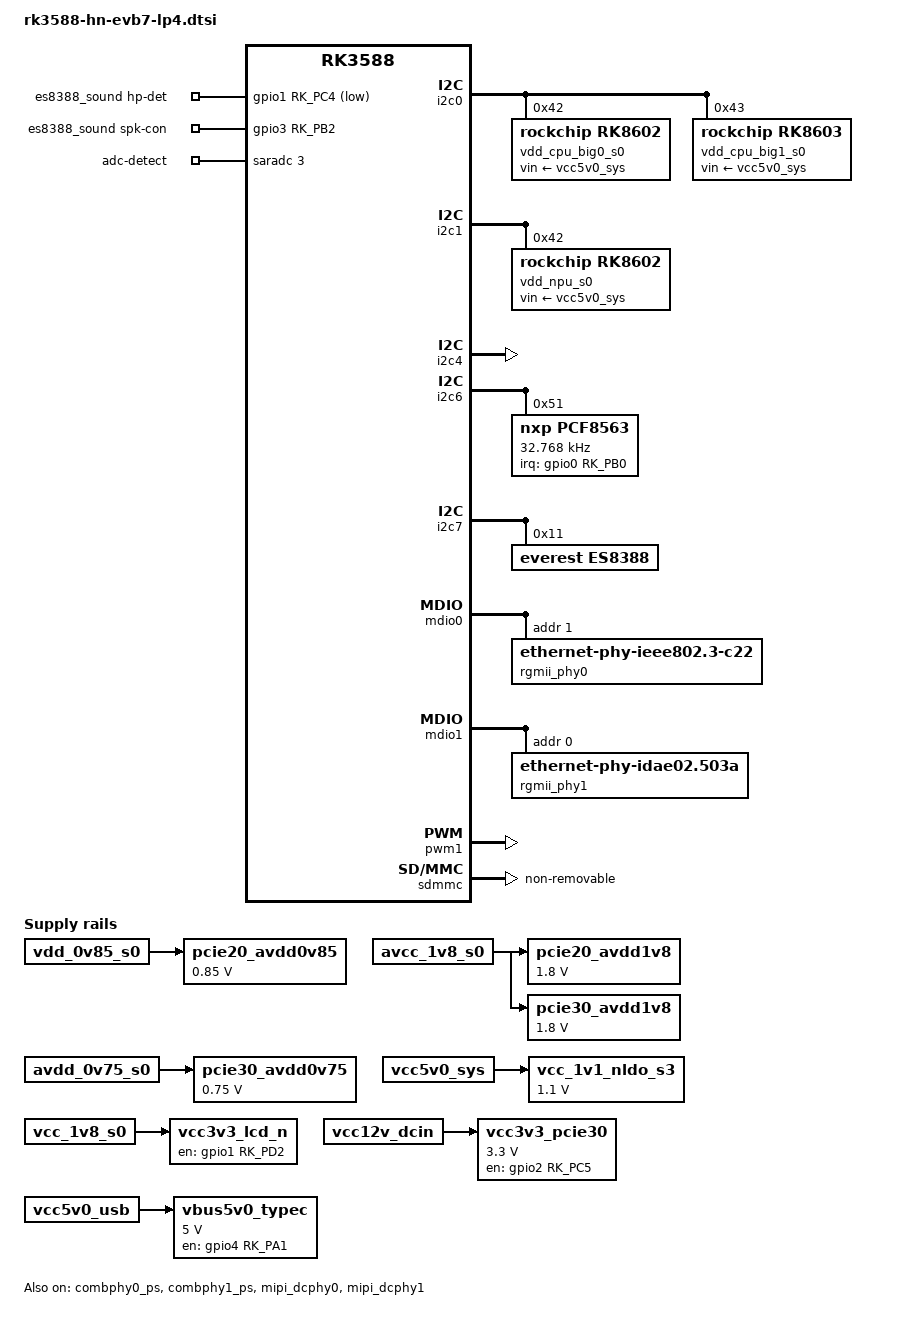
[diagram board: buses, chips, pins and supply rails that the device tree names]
// SPDX-License-Identifier: (GPL-2.0+ OR MIT)
/*
 * Copyright (c) 2021 Rockchip Electronics Co., Ltd.
 *
 */

#include "dt-bindings/usb/pd.h"
#include "rk3588.dtsi"
#include "rk3588-evb.dtsi"
#include "rk3588-rk806-single.dtsi"

#include "topeet_screen_lcds.dts"  //失能lcd显示
//#include "topeet_camera_config.dtsi"

/ {
	/* If hdmirx node is disabled, delete the reserved-memory node here. */
	reserved-memory {
		#address-cells = <2>;
		#size-cells = <2>;
		ranges;

		/* Reserve 128MB memory for hdmirx-controller@fdee0000 */
		cma {
			compatible = "shared-dma-pool";
			reusable;
			reg = <0x0 (256 * 0x100000) 0x0 (128 * 0x100000)>;
			linux,cma-default;
		};
	};

	es8388_sound: es8388-sound {
		status = "okay";
		compatible = "rockchip,multicodecs-card";
		rockchip,card-name = "rockchip-es8388";
		hp-det-gpio = <&gpio1 RK_PC4 GPIO_ACTIVE_LOW>;
		io-channels = <&saradc 3>;
		io-channel-names = "adc-detect";
		keyup-threshold-microvolt = <1800000>;
		poll-interval = <100>;
		spk-con-gpio = <&gpio3 RK_PB2 GPIO_ACTIVE_HIGH>;
		//hp-con-gpio = <&gpio3 RK_PB2 GPIO_ACTIVE_HIGH>;
		rockchip,format = "i2s";
		rockchip,mclk-fs = <512>;
		rockchip,cpu = <&i2s0_8ch>;
		rockchip,codec = <&es8388>;
		rockchip,audio-routing =
			"Headphone", "LOUT1",
			"Headphone", "ROUT1",
			"Speaker", "LOUT2",
			"Speaker", "ROUT2",
			"Headphone", "Headphone Power",
			"Headphone", "Headphone Power",
			"Speaker", "Speaker Power",
			"Speaker", "Speaker Power",
			"LINPUT1", "Main Mic",
			"LINPUT2", "Main Mic",
			"RINPUT1", "Headset Mic",
			"RINPUT2", "Headset Mic";
		pinctrl-names = "default";
		pinctrl-0 = <&hp_det>;
		play-pause-key {
			label = "playpause";
			linux,code = <KEY_PLAYPAUSE>;
			press-threshold-microvolt = <2000>;
		};
	};

#if 0
	fan: pwm-fan {
		compatible = "pwm-fan";
		#cooling-cells = <2>;
		pwms = <&pwm3 0 50000 0>;
	};


	hdmiin_dc: hdmiin-dc {
		compatible = "rockchip,dummy-codec";
		#sound-dai-cells = <0>;
	};

	hdmiin-sound {
		compatible = "simple-audio-card";
		simple-audio-card,format = "i2s";
		simple-audio-card,name = "rockchip,hdmiin";
		simple-audio-card,bitclock-master = <&dailink0_master>;
		simple-audio-card,frame-master = <&dailink0_master>;
		status = "disabled";
		simple-audio-card,cpu {
			sound-dai = <&i2s7_8ch>;
		};
		dailink0_master: simple-audio-card,codec {
			sound-dai = <&hdmiin_dc>;
		};
	};
#endif
	pcie20_avdd0v85: pcie20-avdd0v85 {
		compatible = "regulator-fixed";
		regulator-name = "pcie20_avdd0v85";
		regulator-boot-on;
		regulator-always-on;
		regulator-min-microvolt = <850000>;
		regulator-max-microvolt = <850000>;
		vin-supply = <&vdd_0v85_s0>;
	};

	pcie20_avdd1v8: pcie20-avdd1v8 {
		compatible = "regulator-fixed";
		regulator-name = "pcie20_avdd1v8";
		regulator-boot-on;
		regulator-always-on;
		regulator-min-microvolt = <1800000>;
		regulator-max-microvolt = <1800000>;
		vin-supply = <&avcc_1v8_s0>;
	};

	pcie30_avdd0v75: pcie30-avdd0v75 {
		compatible = "regulator-fixed";
		regulator-name = "pcie30_avdd0v75";
		regulator-boot-on;
		regulator-always-on;
		regulator-min-microvolt = <750000>;
		regulator-max-microvolt = <750000>;
		vin-supply = <&avdd_0v75_s0>;
	};

	pcie30_avdd1v8: pcie30-avdd1v8 {
		compatible = "regulator-fixed";
		regulator-name = "pcie30_avdd1v8";
		regulator-boot-on;
		regulator-always-on;
		regulator-min-microvolt = <1800000>;
		regulator-max-microvolt = <1800000>;
		vin-supply = <&avcc_1v8_s0>;
	};

	rk_headset: rk-headset {
		status = "disabled";
		compatible = "rockchip_headset";
		headset_gpio = <&gpio1 RK_PD5 GPIO_ACTIVE_LOW>;
		pinctrl-names = "default";
		pinctrl-0 = <&hp_det>;
		io-channels = <&saradc 3>;
	};


	vcc_1v1_nldo_s3: vcc-1v1-nldo-s3 {
		compatible = "regulator-fixed";
		regulator-name = "vcc_1v1_nldo_s3";
		regulator-always-on;
		regulator-boot-on;
		regulator-min-microvolt = <1100000>;
		regulator-max-microvolt = <1100000>;
		vin-supply = <&vcc5v0_sys>;
	};

	vcc3v3_lcd_n: vcc3v3-lcd0-n {
		compatible = "regulator-fixed";
		regulator-name = "vcc3v3_lcd0_n";
		regulator-always-on;
		regulator-boot-on;
		enable-active-high;
		gpio = <&gpio1 RK_PD2 GPIO_ACTIVE_HIGH>;
		vin-supply = <&vcc_1v8_s0>;
	};

	vcc3v3_pcie30: vcc3v3-pcie30 {
		compatible = "regulator-fixed";
		regulator-name = "vcc3v3_pcie30";
		regulator-min-microvolt = <3300000>;
		regulator-max-microvolt = <3300000>;
		enable-active-high;
		gpios = <&gpio2 RK_PC5 GPIO_ACTIVE_HIGH>;
		startup-delay-us = <5000>;
		vin-supply = <&vcc12v_dcin>;
	};

#if 0
	vcc5v0_host: vcc5v0-host {
		compatible = "regulator-fixed";
		regulator-name = "vcc5v0_host";
		regulator-boot-on;
		regulator-always-on;
		regulator-min-microvolt = <5000000>;
		regulator-max-microvolt = <5000000>;
		enable-active-high;
		gpio = <&gpio4 RK_PB0 GPIO_ACTIVE_HIGH>;
		vin-supply = <&vcc5v0_usb>;
		pinctrl-names = "default";
		pinctrl-0 = <&vcc5v0_host_en>;
	};
#endif

/*
	vcc_mipicsi0: vcc-mipicsi0-regulator {
		compatible = "regulator-fixed";
		gpio = <&gpio1 RK_PD2 GPIO_ACTIVE_HIGH>;
		pinctrl-names = "default";
		pinctrl-0 = <&mipicsi0_pwr>;
		regulator-name = "vcc_mipicsi0";
		enable-active-high;
	};

	vcc_mipicsi1: vcc-mipicsi1-regulator {
		compatible = "regulator-fixed";
		gpio = <&gpio1 RK_PD3 GPIO_ACTIVE_HIGH>;
		pinctrl-names = "default";
		pinctrl-0 = <&mipicsi1_pwr>;
		regulator-name = "vcc_mipicsi1";
		enable-active-high;
	};

	vcc_mipidcphy0: vcc-mipidcphy0-regulator {
		compatible = "regulator-fixed";
		gpio = <&gpio2 RK_PC4 GPIO_ACTIVE_HIGH>;
		pinctrl-names = "default";
		pinctrl-0 = <&mipidcphy0_pwr>;
		regulator-name = "vcc_mipidcphy0";
		enable-active-high;
	};
*/

	vbus5v0_typec: vbus5v0-typec {
                compatible = "regulator-fixed";
                regulator-name = "vbus5v0_typec";
                regulator-min-microvolt = <5000000>;
                regulator-max-microvolt = <5000000>;
                enable-active-high;
                gpio = <&gpio4 RK_PA1 GPIO_ACTIVE_HIGH>;
                vin-supply = <&vcc5v0_usb>;
                pinctrl-names = "default";
                pinctrl-0 = <&typec5v_pwren>;
        };
};

&combphy0_ps {
	status = "okay";
};

&combphy1_ps {
	status = "okay";
};


/* Should work with at least 128MB cma reserved above. */
&hdmirx_ctrler {
	status = "disabled";

	/* Effective level used to trigger HPD: 0-low, 1-high */
	hpd-trigger-level = <1>;
	hdmirx-det-gpios = <&gpio1 RK_PD5 GPIO_ACTIVE_LOW>;
	pinctrl-names = "default";
	pinctrl-0 = <&hdmim1_rx &hdmirx_det>;
};

&hdptxphy_hdmi0 {
	status = "disabled";
};

&hdptxphy_hdmi1 {
	status = "disabled";
};

&i2c0 {
	status = "okay";
	pinctrl-names = "default";
	pinctrl-0 = <&i2c0m2_xfer>;

	vdd_cpu_big0_s0: vdd_cpu_big0_mem_s0: rk8602@42 {
		compatible = "rockchip,rk8602";
		reg = <0x42>;
		vin-supply = <&vcc5v0_sys>;
		regulator-compatible = "rk860x-reg";
		regulator-name = "vdd_cpu_big0_s0";
		regulator-min-microvolt = <550000>;
		regulator-max-microvolt = <1050000>;
		regulator-ramp-delay = <2300>;
		rockchip,suspend-voltage-selector = <1>;
		regulator-boot-on;
		regulator-always-on;
		regulator-state-mem {
			regulator-off-in-suspend;
		};
	};

	vdd_cpu_big1_s0: vdd_cpu_big1_mem_s0: rk8603@43 {
		compatible = "rockchip,rk8603";
		reg = <0x43>;
		vin-supply = <&vcc5v0_sys>;
		regulator-compatible = "rk860x-reg";
		regulator-name = "vdd_cpu_big1_s0";
		regulator-min-microvolt = <550000>;
		regulator-max-microvolt = <1050000>;
		regulator-ramp-delay = <2300>;
		rockchip,suspend-voltage-selector = <1>;
		regulator-boot-on;
		regulator-always-on;
		regulator-state-mem {
			regulator-off-in-suspend;
		};
	};
};

&i2c1 {
	status = "okay";
	pinctrl-names = "default";
	pinctrl-0 = <&i2c1m2_xfer>;

	vdd_npu_s0: vdd_npu_mem_s0: rk8602@42 {
		compatible = "rockchip,rk8602";
		reg = <0x42>;
		vin-supply = <&vcc5v0_sys>;
		regulator-compatible = "rk860x-reg";
		regulator-name = "vdd_npu_s0";
		regulator-min-microvolt = <550000>;
		regulator-max-microvolt = <950000>;
		regulator-ramp-delay = <2300>;
		rockchip,suspend-voltage-selector = <1>;
		regulator-boot-on;
		regulator-always-on;
		regulator-state-mem {
			regulator-off-in-suspend;
		};
	};
};

&i2c4 {
	status = "okay";
	pinctrl-0 = <&i2c4m1_xfer>;

};

&i2c6 {
	status = "okay";
	pinctrl-names = "default";
	pinctrl-0 = <&i2c6m0_xfer>;

	usbc0: fusb302@22 {
                compatible = "fcs,fusb302";
                reg = <0x22>;
                interrupt-parent = <&gpio0>;
                interrupts = <RK_PD3 IRQ_TYPE_LEVEL_LOW>;
                pinctrl-names = "default";
                pinctrl-0 = <&usbc0_int>;
                vbus-supply = <&vbus5v0_typec>;
                status = "disable";

                ports {
                        #address-cells = <1>;
                        #size-cells = <0>;

                        port@0 {
                                reg = <0>;
                                usbc0_role_sw: endpoint@0 {
                                        remote-endpoint = <&dwc3_0_role_switch>;
                                };
                        };
                };

                usb_con: connector {
                        compatible = "usb-c-connector";
                        label = "USB-C";
                        data-role = "dual";
                        power-role = "dual";
                        try-power-role = "sink";
                        op-sink-microwatt = <1000000>;
                        sink-pdos =
                                <PDO_FIXED(5000, 1000, PDO_FIXED_USB_COMM)>;
                        source-pdos =
                                <PDO_FIXED(5000, 3000, PDO_FIXED_USB_COMM)>;

                        altmodes {
                                #address-cells = <1>;
                                #size-cells = <0>;

                                altmode@0 {
                                        reg = <0>;
                                        svid = <0xff01>;
                                        vdo = <0xffffffff>;
                                };
                        };

                        ports {
                                #address-cells = <1>;
                                #size-cells = <0>;

                                port@0 {
                                        reg = <0>;
                                        usbc0_orien_sw: endpoint {
                                                remote-endpoint = <&usbdp_phy0_orientation_switch>;
                                        };
                                };
                                port@1 {
                                        reg = <1>;
                                        dp_altmode_mux: endpoint {
                                                remote-endpoint = <&usbdp_phy0_dp_altmode_mux>;
                                        };
                                };
                        };
                };
        };

	pcf8563: pcf8563@51{
        compatible = "nxp,pcf8563";
        reg = <0x51>;
		#clock-cells = <0>;
		clock-frequency = <32768>;
		pinctrl-names = "default";
		pinctrl-0 = <&pcf8563_int>;
		interrupt-parent = <&gpio0>;
		interrupts = <RK_PB0 IRQ_TYPE_LEVEL_LOW>;
		wakeup-source;
        };       
};

&i2c7 {
	status = "okay";
	pinctrl-0 = <&i2c7m0_xfer>;
	es8388: es8388@11 {
		status = "okay";
		#sound-dai-cells = <0>;
		compatible = "everest,es8388", "everest,es8323";
		reg = <0x11>;
		clocks = <&cru I2S0_8CH_MCLKOUT>;
		clock-names = "mclk";
		assigned-clocks = <&cru I2S0_8CH_MCLKOUT>;
		assigned-clock-rates = <12288000>;
		pinctrl-names = "default";
		pinctrl-0 = <&i2s0_mclk>;
	};
};

&i2s5_8ch {
	status = "disabled";
};

&i2s6_8ch {
	status = "disabled";
};

&i2s7_8ch {
	status = "disabled";
};

&mdio0 {
	rgmii_phy0: phy@1 {
		compatible = "ethernet-phy-ieee802.3-c22";
		reg = <0x1>;
	};
};

&mdio1 {
	rgmii_phy1: phy@0 {
		compatible = "ethernet-phy-idae02.503a", "ethernet-phy-ieee802.3-c45";
		reg = <0x0>;
	};
};

&mipi_dcphy0 {
	status = "okay";
};

&mipi_dcphy1 {
	status = "okay";
};

&pcie2x1l0 {
	reset-gpios = <&gpio1 RK_PB4 GPIO_ACTIVE_HIGH>;
	status = "disabled";
};

&pcie30phy {
	rockchip,pcie30-phymode = <PHY_MODE_PCIE_NANBNB>;
	status = "disabled";
};

&pcie3x4 {
	num-lanes = <2>;
	reset-gpios = <&gpio4 RK_PB6 GPIO_ACTIVE_HIGH>;
	vpcie3v3-supply = <&vcc3v3_pcie30>;
	status = "disabled";
};

&pinctrl {
	cam {
		mipicsi0_pwr: mipicsi0-pwr {
			rockchip,pins =
				/* camera power en */
				<1 RK_PD2 RK_FUNC_GPIO &pcfg_pull_none>;
		};
		mipicsi1_pwr: mipicsi1-pwr {
			rockchip,pins =
				/* camera power en */
				<1 RK_PD3 RK_FUNC_GPIO &pcfg_pull_none>;
		};
		mipidcphy0_pwr: mipidcphy0-pwr {
			rockchip,pins =
				/* camera power en */
				<2 RK_PC4 RK_FUNC_GPIO &pcfg_pull_none>;
		};
	};

	vga {
		vga_hpdin_l: vga-hpdin-l {
			rockchip,pins = <3 RK_PA6 RK_FUNC_GPIO &pcfg_pull_none>;
		};
	};

	hdmi {
		hdmirx_det: hdmirx-det {
			rockchip,pins = <1 RK_PD5 RK_FUNC_GPIO &pcfg_pull_up>;
		};
	};

	headphone {
		hp_det: hp-det {
			rockchip,pins = <1 RK_PC4 RK_FUNC_GPIO &pcfg_pull_none>;
		};
	};

    //0918
	pcf8563 {
		pcf8563_int: pcf8563-int {
			rockchip,pins = <0 RK_PB0 RK_FUNC_GPIO &pcfg_pull_up>;
		};
	};

	lcd {
		lcd_rst_gpio: lcd-rst-gpio {
			rockchip,pins = <0 RK_PD3 RK_FUNC_GPIO &pcfg_pull_none>;
		};
	};

	sdmmc {
		sd_s0_pwr: sd-s0-pwr {
			rockchip,pins = <0 RK_PB7 RK_FUNC_GPIO &pcfg_pull_up>;
		};
	};

	touch {
		touch_gpio: touch-gpio {
			rockchip,pins =
				<3 RK_PC1 RK_FUNC_GPIO &pcfg_pull_down>,
				<3 RK_PC0 RK_FUNC_GPIO &pcfg_pull_up>;
		};
	};

	usb {
		vcc5v0_host_en: vcc5v0-host-en {
			rockchip,pins = <4 RK_PB0 RK_FUNC_GPIO &pcfg_pull_none>;
		};
	};

	usb-typec {
                usbc0_int: usbc0-int {
                        rockchip,pins = <0 RK_PD3 RK_FUNC_GPIO &pcfg_pull_up>;
                };

                typec5v_pwren: typec5v-pwren {
                        rockchip,pins = <4 RK_PA1 RK_FUNC_GPIO &pcfg_pull_none>;
                };
        };

};

&pwm1 {
	status = "okay"; //失能pwm1，于can0引脚冲突
};

&pwm3 {
	pinctrl-0 = <&pwm3m1_pins>;
	status = "disabled";
};


&sata0 {
	status = "disabled";
};

&sdmmc {
	status = "okay";
    non-removable;
};

&u2phy0_otg {
	status = "disable";
	//phy-supply = <&vcc5v0_host>;
	rockchip,typec-vbus-det;
};

#if 0
&u2phy1_otg {
	phy-supply = <&vcc5v0_host>;
};

&u2phy2_host {
	phy-supply = <&vcc5v0_host>;
};

&u2phy3_host {
	phy-supply = <&vcc5v0_host>;
};
#endif

&usbdp_phy0 {
	status = "disable";
	orientation-switch;
        svid = <0xff01>;
        sbu1-dc-gpios = <&gpio4 RK_PA6 GPIO_ACTIVE_HIGH>;
        sbu2-dc-gpios = <&gpio4 RK_PA7 GPIO_ACTIVE_HIGH>;

        port {
                #address-cells = <1>;
                #size-cells = <0>;
                usbdp_phy0_orientation_switch: endpoint@0 {
                        reg = <0>;
                        remote-endpoint = <&usbc0_orien_sw>;
                };

                usbdp_phy0_dp_altmode_mux: endpoint@1 {
                        reg = <1>;
                        remote-endpoint = <&dp_altmode_mux>;
		};
	};
};

&usbdp_phy0_dp {
	status = "disable";
};

&usbdp_phy0_u3 {
	status = "disable";
};

&usbdp_phy1 {
	rockchip,dp-lane-mux = <2 3>;
	status = "disabled";
};

&usbdp_phy1_dp {
	status = "disabled";
};

&usbdp_phy1_u3 {
	maximum-speed = "high-speed";
	status = "disabled";
};

&usbdrd_dwc3_0 {
	dr_mode = "otg";
	status = "disable";
	usb-role-switch;
        port {
                #address-cells = <1>;
                #size-cells = <0>;
                dwc3_0_role_switch: endpoint@0 {
                        reg = <0>;
                        remote-endpoint = <&usbc0_role_sw>;
                };
        };
};

&usbdrd_dwc3_1 {
	dr_mode = "host";
//	maximum-speed = "high-speed";
	status = "disabled";
};

//5G 
&combphy2_psu {
	status = "disabled";
};
&usbhost3_0 {
	status = "disabled";
};


&can1 {
	status = "disable";
	compatible = "rockchip,canfd-1.0"; //使用canfd
	pinctrl-0 = <&can1m1_pins>;
	assigned-clocks = <&cru CLK_CAN1>;
	assigned-clock-rates = <100000000>;
};

&uart0 {
	status = "disable";
//	dma-names = "tx", "rx"; //使用dma传输模式
	pinctrl-names = "default";
	pinctrl-0 = <&uart0m2_xfer>;
};



